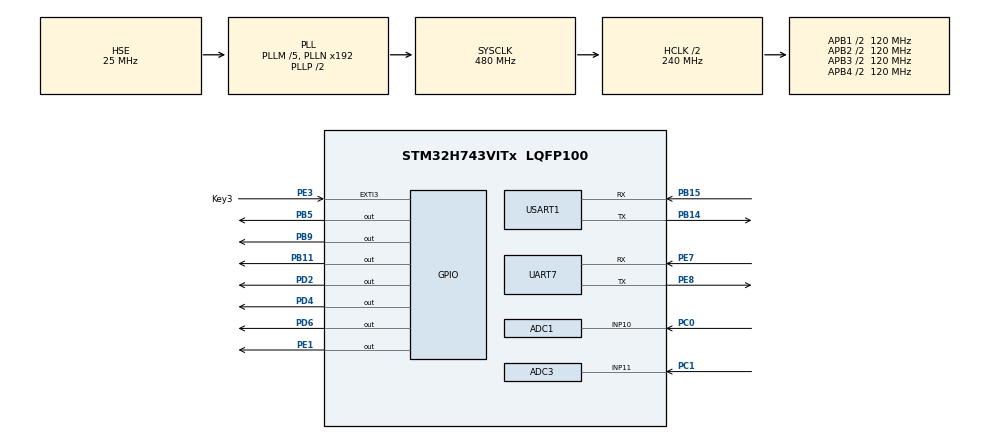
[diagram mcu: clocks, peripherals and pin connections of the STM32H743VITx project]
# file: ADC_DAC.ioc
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ADC1.Channel-1\#ChannelRegularConversion=ADC_CHANNEL_10
ADC1.ClockPrescaler=ADC_CLOCK_ASYNC_DIV1
ADC1.ConversionDataManagement=ADC_CONVERSIONDATA_DMA_CIRCULAR
ADC1.ExternalTrigConv=ADC_EXTERNALTRIG_T15_TRGO
ADC1.NbrOfConversion=1
ADC1.NbrOfConversionFlag=1
ADC1.OffsetNumber-1\#ChannelRegularConversion=ADC_OFFSET_NONE
ADC1.OffsetSignedSaturation-1\#ChannelRegularConversion=DISABLE
ADC1.Rank-1\#ChannelRegularConversion=1
ADC1.SamplingTime-1\#ChannelRegularConversion=ADC_SAMPLETIME_1CYCLE_5
ADC1.master=1
ADC3.Channel-0\#ChannelRegularConversion=ADC_CHANNEL_11
ADC3.ConversionDataManagement=ADC_CONVERSIONDATA_DMA_CIRCULAR
ADC3.ExternalTrigConv=ADC_EXTERNALTRIG_T1_TRGO
ADC3.NbrOfConversionFlag=1
ADC3.OffsetNumber-0\#ChannelRegularConversion=ADC_OFFSET_NONE
ADC3.OffsetSignedSaturation-0\#ChannelRegularConversion=DISABLE
ADC3.Rank-0\#ChannelRegularConversion=1
ADC3.SamplingTime-0\#ChannelRegularConversion=ADC_SAMPLETIME_1CYCLE_5
CORTEX_M7.AccessPermission-Cortex_Memory_Protection_Unit_Region0_Settings=MPU_REGION_FULL_ACCESS
CORTEX_M7.AccessPermission-Cortex_Memory_Protection_Unit_Region1_Settings=MPU_REGION_FULL_ACCESS
CORTEX_M7.AccessPermission-Cortex_Memory_Protection_Unit_Region2_Settings=MPU_REGION_FULL_ACCESS
CORTEX_M7.AccessPermission-Cortex_Memory_Protection_Unit_Region3_Settings=MPU_REGION_FULL_ACCESS
CORTEX_M7.AccessPermission-Cortex_Memory_Protection_Unit_Region4_Settings=MPU_REGION_FULL_ACCESS
CORTEX_M7.AccessPermission_S-Cortex_Memory_Protection_Unit_Region1_Settings_S=MPU_REGION_FULL_ACCESS
CORTEX_M7.AccessPermission_S-Cortex_Memory_Protection_Unit_Region2_Settings_S=MPU_REGION_FULL_ACCESS
CORTEX_M7.AccessPermission_Spec=MPU_REGION_FULL_ACCESS
CORTEX_M7.BaseAddress-Cortex_Memory_Protection_Unit_Region0_Settings=0x24000000
CORTEX_M7.BaseAddress-Cortex_Memory_Protection_Unit_Region1_Settings=0x30000000
CORTEX_M7.BaseAddress-Cortex_Memory_Protection_Unit_Region2_Settings=0x30020000
CORTEX_M7.BaseAddress-Cortex_Memory_Protection_Unit_Region3_Settings=0x30040000
CORTEX_M7.BaseAddress-Cortex_Memory_Protection_Unit_Region4_Settings=0x38000000
CORTEX_M7.BaseAddress_S-Cortex_Memory_Protection_Unit_Region1_Settings_S=0x30000000
CORTEX_M7.BaseAddress_S-Cortex_Memory_Protection_Unit_Region2_Settings_S=0x30020000
CORTEX_M7.BaseAddress_Spec=0x24000000
CORTEX_M7.CPU_DCache=Enabled
CORTEX_M7.CPU_ICache=Enabled
CORTEX_M7.DisableExec_S-Cortex_Memory_Protection_Unit_Region1_Settings_S=MPU_INSTRUCTION_ACCESS_ENABLE
CORTEX_M7.DisableExec_S-Cortex_Memory_Protection_Unit_Region2_Settings_S=MPU_INSTRUCTION_ACCESS_ENABLE
CORTEX_M7.DisableExec_Spec=MPU_INSTRUCTION_ACCESS_ENABLE
CORTEX_M7.Enable-Cortex_Memory_Protection_Unit_Region0_Settings=MPU_REGION_ENABLE
CORTEX_M7.Enable-Cortex_Memory_Protection_Unit_Region1_Settings=MPU_REGION_ENABLE
CORTEX_M7.Enable-Cortex_Memory_Protection_Unit_Region2_Settings=MPU_REGION_ENABLE
CORTEX_M7.Enable-Cortex_Memory_Protection_Unit_Region3_Settings=MPU_REGION_ENABLE
CORTEX_M7.Enable-Cortex_Memory_Protection_Unit_Region4_Settings=MPU_REGION_ENABLE
CORTEX_M7.Enable_S-Cortex_Memory_Protection_Unit_Region1_Settings_S=MPU_REGION_ENABLE
CORTEX_M7.Enable_S-Cortex_Memory_Protection_Unit_Region2_Settings_S=MPU_REGION_ENABLE
CORTEX_M7.IsBufferable-Cortex_Memory_Protection_Unit_Region0_Settings=MPU_ACCESS_NOT_BUFFERABLE
CORTEX_M7.IsBufferable_S-Cortex_Memory_Protection_Unit_Region1_Settings_S=MPU_ACCESS_NOT_BUFFERABLE
CORTEX_M7.IsBufferable_Spec=MPU_ACCESS_BUFFERABLE
CORTEX_M7.IsCacheable-Cortex_Memory_Protection_Unit_Region0_Settings=MPU_ACCESS_NOT_CACHEABLE
CORTEX_M7.IsCacheable_S-Cortex_Memory_Protection_Unit_Region1_Settings_S=MPU_ACCESS_NOT_CACHEABLE
CORTEX_M7.IsCacheable_Spec=MPU_ACCESS_CACHEABLE
CORTEX_M7.IsShareable_Spec=MPU_ACCESS_NOT_SHAREABLE
CORTEX_M7.MPU_Control=MPU_PRIVILEGED_DEFAULT
CORTEX_M7.Size-Cortex_Memory_Protection_Unit_Region0_Settings=MPU_REGION_SIZE_512KB
CORTEX_M7.Size-Cortex_Memory_Protection_Unit_Region1_Settings=MPU_REGION_SIZE_128KB
CORTEX_M7.Size-Cortex_Memory_Protection_Unit_Region2_Settings=MPU_REGION_SIZE_128KB
CORTEX_M7.Size-Cortex_Memory_Protection_Unit_Region3_Settings=MPU_REGION_SIZE_32KB
CORTEX_M7.Size-Cortex_Memory_Protection_Unit_Region4_Settings=MPU_REGION_SIZE_64KB
CORTEX_M7.Size_S-Cortex_Memory_Protection_Unit_Region1_Settings_S=MPU_REGION_SIZE_128KB
CORTEX_M7.Size_S-Cortex_Memory_Protection_Unit_Region2_Settings_S=MPU_REGION_SIZE_128KB
CORTEX_M7.Size_Spec=MPU_REGION_SIZE_512KB
CORTEX_M7.SubRegionDisable_Spec=0x0
CORTEX_M7.TypeExtField-Cortex_Memory_Protection_Unit_Region0_Settings=MPU_TEX_LEVEL1
CORTEX_M7.TypeExtField-Cortex_Memory_Protection_Unit_Region1_Settings=MPU_TEX_LEVEL1
CORTEX_M7.TypeExtField-Cortex_Memory_Protection_Unit_Region2_Settings=MPU_TEX_LEVEL1
CORTEX_M7.TypeExtField-Cortex_Memory_Protection_Unit_Region3_Settings=MPU_TEX_LEVEL1
CORTEX_M7.TypeExtField-Cortex_Memory_Protection_Unit_Region4_Settings=MPU_TEX_LEVEL1
CORTEX_M7.TypeExtField_S-Cortex_Memory_Protection_Unit_Region1_Settings_S=MPU_TEX_LEVEL1
CORTEX_M7.TypeExtField_S-Cortex_Memory_Protection_Unit_Region2_Settings_S=MPU_TEX_LEVEL1
CORTEX_M7.TypeExtField_Spec=MPU_TEX_LEVEL1
Dma.ADC1.0.Direction=DMA_PERIPH_TO_MEMORY
Dma.ADC1.0.EventEnable=DISABLE
Dma.ADC1.0.FIFOMode=DMA_FIFOMODE_DISABLE
Dma.ADC1.0.Instance=DMA1_Stream1
Dma.ADC1.0.MemDataAlignment=DMA_MDATAALIGN_HALFWORD
Dma.ADC1.0.MemInc=DMA_MINC_ENABLE
Dma.ADC1.0.Mode=DMA_NORMAL
Dma.ADC1.0.PeriphDataAlignment=DMA_PDATAALIGN_HALFWORD
Dma.ADC1.0.PeriphInc=DMA_PINC_DISABLE
Dma.ADC1.0.Polarity=HAL_DMAMUX_REQ_GEN_RISING
Dma.ADC1.0.Priority=DMA_PRIORITY_HIGH
Dma.ADC1.0.RequestNumber=1
Dma.ADC1.0.SignalID=NONE
Dma.ADC1.0.SyncEnable=DISABLE
Dma.ADC1.0.SyncPolarity=HAL_DMAMUX_SYNC_NO_EVENT
Dma.ADC1.0.SyncRequestNumber=1
Dma.ADC1.0.SyncSignalID=NONE
Dma.ADC3.1.Direction=DMA_PERIPH_TO_MEMORY
Dma.ADC3.1.EventEnable=DISABLE
Dma.ADC3.1.FIFOMode=DMA_FIFOMODE_DISABLE
Dma.ADC3.1.Instance=DMA2_Stream1
Dma.ADC3.1.MemDataAlignment=DMA_MDATAALIGN_HALFWORD
Dma.ADC3.1.MemInc=DMA_MINC_ENABLE
Dma.ADC3.1.Mode=DMA_NORMAL
Dma.ADC3.1.PeriphDataAlignment=DMA_PDATAALIGN_HALFWORD
Dma.ADC3.1.PeriphInc=DMA_PINC_DISABLE
Dma.ADC3.1.Polarity=HAL_DMAMUX_REQ_GEN_RISING
Dma.ADC3.1.Priority=DMA_PRIORITY_HIGH
Dma.ADC3.1.RequestNumber=1
Dma.ADC3.1.SignalID=NONE
Dma.ADC3.1.SyncEnable=DISABLE
Dma.ADC3.1.SyncPolarity=HAL_DMAMUX_SYNC_NO_EVENT
Dma.ADC3.1.SyncRequestNumber=1
Dma.ADC3.1.SyncSignalID=NONE
Dma.Request0=ADC1
Dma.Request1=ADC3
Mcu.Family=STM32H7
Mcu.Name=STM32H743VITx
Mcu.Package=LQFP100
NVIC.DMA1_Stream1_IRQn=true\:0\:0\:false\:false\:true\:false\:true\:true
NVIC.DMA2_Stream1_IRQn=true\:0\:0\:false\:false\:true\:false\:true\:true
NVIC.EXTI3_IRQn=true\:0\:0\:false\:false\:true\:true\:true\:true
NVIC.PriorityGroup=NVIC_PRIORITYGROUP_4
NVIC.TIM3_IRQn=true\:0\:0\:false\:false\:true\:true\:true\:true
NVIC.TIM4_IRQn=true\:0\:0\:false\:false\:true\:true\:true\:true
NVIC.UART7_IRQn=true\:0\:0\:false\:false\:true\:true\:true\:true
PA13\ (JTMS/SWDIO).Mode=Serial_Wire
PA13\ (JTMS/SWDIO).Signal=DEBUG_JTMS-SWDIO
PA14\ (JTCK/SWCLK).Mode=Serial_Wire
PA14\ (JTCK/SWCLK).Signal=DEBUG_JTCK-SWCLK
PB11.GPIO_ModeDefaultOutputPP=GPIO_MODE_OUTPUT_PP
PB11.GPIO_PuPd=GPIO_PULLUP
PB11.GPIO_Speed=GPIO_SPEED_FREQ_VERY_HIGH
PB11.PinState=GPIO_PIN_SET
PB11.Signal=GPIO_Output
PB14.Mode=Asynchronous
PB14.Signal=USART1_TX
PB15.Mode=Asynchronous
PB15.Signal=USART1_RX
PB5.GPIO_ModeDefaultOutputPP=GPIO_MODE_OUTPUT_PP
PB5.GPIO_PuPd=GPIO_PULLUP
PB5.GPIO_Speed=GPIO_SPEED_FREQ_VERY_HIGH
PB5.PinState=GPIO_PIN_SET
PB5.Signal=GPIO_Output
PB9.GPIO_PuPd=GPIO_PULLUP
PB9.GPIO_Speed=GPIO_SPEED_FREQ_VERY_HIGH
PB9.PinState=GPIO_PIN_SET
PB9.Signal=GPIO_Output
PC0.Signal=ADCx_INP10
PC1.Signal=ADCx_INP11
PD2.GPIO_Speed=GPIO_SPEED_FREQ_VERY_HIGH
PD2.PinState=GPIO_PIN_SET
PD2.Signal=GPIO_Output
PD4.GPIO_PuPd=GPIO_PULLUP
PD4.GPIO_Speed=GPIO_SPEED_FREQ_VERY_HIGH
PD4.PinState=GPIO_PIN_SET
PD4.Signal=GPIO_Output
PD6.GPIO_PuPd=GPIO_PULLUP
PD6.GPIO_Speed=GPIO_SPEED_FREQ_VERY_HIGH
PD6.PinState=GPIO_PIN_SET
PD6.Signal=GPIO_Output
PE1.GPIO_PuPd=GPIO_PULLUP
PE1.GPIO_Speed=GPIO_SPEED_FREQ_VERY_HIGH
PE1.PinState=GPIO_PIN_SET
PE1.Signal=GPIO_Output
PE3.GPIO_Label=Key3
PE3.GPIO_ModeDefaultEXTI=GPIO_MODE_IT_FALLING
PE3.GPIO_PuPd=GPIO_PULLUP
PE3.Signal=GPXTI3
PE7.Mode=Asynchronous
PE7.Signal=UART7_RX
PE8.Mode=Asynchronous
PE8.Signal=UART7_TX
PH0-OSC_IN\ (PH0).Mode=HSE-External-Oscillator
PH0-OSC_IN\ (PH0).Signal=RCC_OSC_IN
PH1-OSC_OUT\ (PH1).Mode=HSE-External-Oscillator
PH1-OSC_OUT\ (PH1).Signal=RCC_OSC_OUT
ProjectManager.HeapSize=0x200
ProjectManager.StackSize=0x400
ProjectManager.TargetToolchain=MDK-ARM V5.32
RCC.ADCFreq_Value=72000000
RCC.APB1Freq_Value=120000000
RCC.APB2Freq_Value=120000000
RCC.APB3Freq_Value=120000000
RCC.APB4Freq_Value=120000000
RCC.CortexFreq_Value=480000000
RCC.D1PPRE=RCC_APB3_DIV2
RCC.D2PPRE1=RCC_APB1_DIV2
RCC.D2PPRE2=RCC_APB2_DIV2
RCC.D3PPRE=RCC_APB4_DIV2
RCC.DIVM1=5
RCC.DIVM2=25
RCC.DIVN1=192
RCC.DIVN2=360
RCC.DIVP2=5
RCC.HCLKFreq_Value=240000000
RCC.HPRE=RCC_HCLK_DIV2
RCC.HSE_Timout=5000
RCC.PLLSourceVirtual=RCC_PLLSOURCE_HSE
RCC.ProductRev=revV
RCC.SYSCLKFreq_VALUE=480000000
RCC.SYSCLKSource=RCC_SYSCLKSOURCE_PLLCLK
RCC.USBFreq_Value=480000000
SH.ADCx_INP10.0=ADC2_INP10
SH.ADCx_INP10.1=ADC1_INP10,IN10-Single-Ended
SH.ADCx_INP11.0=ADC3_INP11,IN11-Single-Ended
TIM1.AutoReloadPreload=TIM_AUTORELOAD_PRELOAD_ENABLE
TIM1.Period=5-1
TIM1.Prescaler=240-1
TIM1.TIM_MasterOutputTrigger=TIM_TRGO_UPDATE
TIM15.AutoReloadPreload=TIM_AUTORELOAD_PRELOAD_ENABLE
TIM15.Period=4-1
TIM15.Prescaler=60-1
TIM15.TIM_MasterOutputTrigger=TIM_TRGO_UPDATE
TIM2.AutoReloadPreload=TIM_AUTORELOAD_PRELOAD_ENABLE
TIM2.Period=20-1
TIM2.Prescaler=240-1
TIM3.AutoReloadPreload=TIM_AUTORELOAD_PRELOAD_ENABLE
TIM3.Period=100-1
TIM3.Prescaler=240-1
TIM4.AutoReloadPreload=TIM_AUTORELOAD_PRELOAD_ENABLE
TIM4.Period=50-1
TIM4.Prescaler=240-1
TIM6.AutoReloadPreload=TIM_AUTORELOAD_PRELOAD_ENABLE
TIM6.Period=200-1
TIM6.Prescaler=12-1
TIM6.TIM_MasterOutputTrigger=TIM_TRGO_UPDATE
TIM7.Prescaler=239
UART7.RXFIFOThreshold=RXFIFO_THRESHOLD_1EIGHTHFULL
UART7.TXFIFOThreshold=TXFIFO_THRESHOLD_1EIGHTHFULL
USART1.VirtualMode-Asynchronous=VM_ASYNC
VP_TIM15_VS_ClockSourceINT.Mode=Internal
VP_TIM1_VS_ClockSourceINT.Mode=Internal
VP_TIM2_VS_ClockSourceINT.Mode=Internal
VP_TIM3_VS_ClockSourceINT.Mode=Internal
VP_TIM4_VS_ClockSourceINT.Mode=Internal
VP_TIM6_VS_ClockSourceINT.Mode=Enable_Timer
VP_TIM7_VS_ClockSourceINT.Mode=Enable_Timer
board=custom

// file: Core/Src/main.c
/* USER CODE BEGIN Header */
/**
  ******************************************************************************
  * @file           : main.c
  * @brief          : Main program body
  ******************************************************************************
  * @attention
  *
  * Copyright (c) 2022 STMicroelectronics.
  * All rights reserved.
  *
  * This software is licensed under terms that can be found in the LICENSE file
  * in the root directory of this software component.
  * If no LICENSE file comes with this software, it is provided AS-IS.
  *
  ******************************************************************************
  */
/* USER CODE END Header */
#include "main.h"
#include "adc.h"
#include "dma.h"
#include "tim.h"
#include "usart.h"
#include "gpio.h"

/* USER CODE BEGIN Includes */
int Chande_flag = 0;
char screen_message[30] = {0};
uint32_t frequency = 1000;
/* USER CODE END Includes */

/* USER CODE BEGIN PTD */
ALIGN_32BYTES (uint16_t adc1_data[10000])  __attribute__((section(".ARM.__at_0x30020000")));
ALIGN_32BYTES (uint16_t adc3_data[2000]) 	__attribute__((section(".ARM.__at_0x30000000")));

//ALIGN_32BYTES (uint16_t comp[1000]) 	__attribute__((section(".ARM.__at_0x300200000")));
uint16_t comp[2000] = {0};
__IO uint8_t AdcConvEnd = 0;//表示adc采集完成__at_0x24000000
float scan_data[480] = {0};
float Upper_K = 0;
float InputRes = 0;

float InputAC = 0;

float InputAC_kailu = 0;

float OutputAC = 0;

float OutputResAC = 0;

float OutputRes = 0;

float Gain = 0;

uint16_t Error_flag = 0;

float Check_OutputRes = 0;

float Check_InputRes = 0;

float Check_Gain = 0;

float Check_DC = 0;

float OutputDC = 0;

uint16_t Check_flag = 0;

void adc_saopin(void)
{
//	HAL_ADC_DeInit(&hadc1);
	MX_ADC1_Init();	//初始化调用放这里, 确保在MX_DMA_Init()初始化后面
	HAL_Delay(100);	//有地方说这里可以等等电压稳定后再校准

	if (HAL_ADCEx_Calibration_Start(&hadc1, ADC_CALIB_OFFSET, ADC_SINGLE_ENDED) != HAL_OK)
	{
			printf("hadc1 error with HAL_ADCEx_Calibration_Start\r\n");
			Error_Handler();
	}

	if (HAL_ADC_Start_DMA(&hadc1, (uint32_t *)adc1_data, 1000) != HAL_OK)
	{
			printf("hadc1 error with HAL_ADC_Start_DMA\r\n");
			Error_Handler();
	}

	HAL_TIM_Base_Start(&htim15);
	while (!AdcConvEnd);
	AdcConvEnd = 0;
	HAL_ADC_DeInit(&hadc1);
}

void adc_init(void)
{
//	HAL_ADC_DeInit(&hadc1);
	MX_ADC1_Init();	//初始化调用放这里, 确保在MX_DMA_Init()初始化后面
	HAL_Delay(100);	//有地方说这里可以等等电压稳定后再校准

	if (HAL_ADCEx_Calibration_Start(&hadc1, ADC_CALIB_OFFSET, ADC_SINGLE_ENDED) != HAL_OK)
	{
			printf("hadc1 error with HAL_ADCEx_Calibration_Start\r\n");
			Error_Handler();
	}

	if (HAL_ADC_Start_DMA(&hadc1, (uint32_t *)adc1_data, 10000) != HAL_OK)
	{
			printf("hadc1 error with HAL_ADC_Start_DMA\r\n");
			Error_Handler();
	}

	HAL_TIM_Base_Start(&htim15);
	while (!AdcConvEnd);
	AdcConvEnd = 0;
	HAL_ADC_DeInit(&hadc1);
}

void adc3_init(void)
{
//	HAL_ADC_DeInit(&hadc3);
	MX_ADC3_Init();	//初始化调用放这里, 确保在MX_DMA_Init()初始化后面
	HAL_Delay(100);	//有地方说这里可以等等电压稳定后再校准

	if (HAL_ADCEx_Calibration_Start(&hadc3, ADC_CALIB_OFFSET, ADC_SINGLE_ENDED) != HAL_OK)
	{
			printf("hadc1 error with HAL_ADCEx_Calibration_Start\r\n");
			Error_Handler();
	}

	if (HAL_ADC_Start_DMA(&hadc3, (uint32_t *)adc3_data, 2000) != HAL_OK)
	{
			printf("hadc3 error with HAL_ADC_Start_DMA\r\n");
			Error_Handler();
	}

	HAL_TIM_Base_Start(&htim1);
	while (!AdcConvEnd);
	AdcConvEnd = 0;
		HAL_ADC_DeInit(&hadc3);

}
/* USER CODE END PTD */

void SystemClock_Config(void);
void PeriphCommonClock_Config(void);
static void MPU_Config(void);

int main(void)
{
  /* USER CODE BEGIN 1 */
	//系统初始化代码
//	{
  /* USER CODE END 1 */

  /* MPU Configuration--------------------------------------------------------*/
  MPU_Config();

  /* Enable I-Cache---------------------------------------------------------*/
  SCB_EnableICache();

  /* Enable D-Cache---------------------------------------------------------*/
  SCB_EnableDCache();

  /* MCU Configuration--------------------------------------------------------*/

  /* Reset of all peripherals, Initializes the Flash interface and the Systick. */
  HAL_Init();

  /* USER CODE BEGIN Init */
	uint32_t saopin = 0;
  /* USER CODE END Init */

  /* Configure the system clock */
  SystemClock_Config();

/* Configure the peripherals common clocks */
  PeriphCommonClock_Config();

  /* Initialize all configured peripherals */
  MX_GPIO_Init();
  MX_DMA_Init();
  MX_TIM7_Init();
  MX_TIM6_Init();
  MX_ADC1_Init();
  MX_USART1_UART_Init();
  MX_ADC3_Init();
  MX_TIM15_Init();
  MX_TIM1_Init();
  MX_UART7_Init();
  MX_TIM2_Init();
  MX_TIM3_Init();
  MX_TIM4_Init();
  /* USER CODE BEGIN 2 */
//	}
	Init_ad9910();
	Write_Amplitude(100);
	Freq_convert(frequency);
	Close_All();
	show_x_ray();
	for(int i = 0; i < 480; i++)
	{
		sprintf(screen_message,"add 10,0,%d\xff\xff\xff",(int)(0));
		USART7PutString(screen_message);
	}
	//开始测量输入电阻
//	{
	//继电器打开输入电阻测量电路，进入开路串联电阻状态
	Start_Input_Resistor_Measure();
	Delay_Ms(200);
  //测量输入部分开路电压
	adc3_init();
	Mea_Input(1);
	//继电器关闭输入电阻测量电路，短路串联电阻
	Stop_Input_Resistor_Measure();
	Delay_Ms(200);

	//测量短路输入电压
	adc3_init();
	Mea_Input(2);
	//显示输入电阻阻值
	show_Input_res(InputRes);

//	sprintf(screen_message,"x0.val=%d\xff\xff\xff",(uint16_t)(InputAC_kailu*100));
//	USART7PutString(screen_message);
//
//	sprintf(screen_message,"x3.val=%d\xff\xff\xff",(uint16_t)(InputAC*100));
//	USART7PutString(screen_message);

	Start_Input_Resistor_Measure();
	Stop_Input_Resistor_Measure();
	Delay_Ms(200);
//	}

	//开始测量输出电阻
//	{
	//输出交流信号进行采样，并联电阻
	Start_Output_Resistor_Measure();
	//改变输出通道adc采样频率到100KHz
	TIM15->PSC = 150-1;
	//测量输出电压
	adc_init();
	Mea_Output(1);

	//输出交流信号进行采样，不并联电阻
	Open_DC();
	//测量输出电压
	adc_init();
	Mea_Output(2);
	show_Output_res(OutputRes);
	Init_ad9910();
	Write_Amplitude(100);
	Freq_convert(frequency);
	Open_DC();

	Gain = OutputAC/InputAC*80.819;
	show_Gain(Gain);
	Mea_Scan();
	Upper_K_Find();

	frequency = 1000;
	Freq_convert(frequency);
	TIM15->PSC = 150-1;

//Start_Input_Resistor_Measure();
	HAL_TIM_Base_Start_IT(&htim3);

  /* USER CODE END 2 */

  /* Infinite loop */
  /* USER CODE BEGIN WHILE */

  while (1)
  {
		if(Check_flag == 1)
		{
			adc_saopin();
			Check_DC = Mea_Scan_DC();

			if( Check_DC > 2600)
			{
				Check_flag = 0;
				if(Check_DC < 2850)
				{
					Error_flag = 5;

					Check_flag = 0;
					Delay_Ms(3000);
				}
				else
				{
					//继电器打开输入电阻测量电路，进入开路串联电阻状态
					Start_Input_Resistor_Measure();
					Delay_Ms(10);
					//测量输入部分开路电压
					adc3_init();
					Mea_Input(1);
					//继电器关闭输入电阻测量电路，短路串联电阻
					Stop_Input_Resistor_Measure();
					Delay_Ms(10);

					//测量短路输入电压
					adc3_init();
					Mea_Input(2);
					//显示输入电阻阻值
					show_Input_res(InputRes);
					if(InputRes < 5)
					{
//							printf("%f\r\n", InputRes);
							if(InputRes < 1.5)
							{
								Error_flag = 6;
							}
							else
							{
								Error_flag = 7;
							}
					}
					else
					{
						if(InputRes > 14)
						{
							Error_flag = 1;
						}
						else{Error_flag = 4;}
					}
				}
			}

			else if( Check_DC > 1500)
			{

				//继电器打开输入电阻测量电路，进入开路串联电阻状态
				Start_Input_Resistor_Measure();
				Delay_Ms(10);
				//测量输入部分开路电压
				adc3_init();
				Mea_Input(1);
				//继电器关闭输入电阻测量电路，短路串联电阻
				Stop_Input_Resistor_Measure();
				Delay_Ms(10);

				//测量短路输入电压
				adc3_init();
				Mea_Input(2);
				InputRes = fabs(InputRes);
				printf("%f\r\n", InputRes);
				if((InputRes > 300) ||  (InputRes < 1))
				{
					Error_flag = 9;
				}
				else if(InputRes > 10)
				{
					Error_flag = 10;
				}
				else
				{
					frequency = 200000;
					Freq_convert(frequency);
					TIM15->PSC = 5-1;
					adc_saopin();
					Check_Gain = Mea_Scan_Output();

					if(Check_Gain >350)
					{
						Error_flag = 11;
					}
					else
					{
						Error_flag = 0;
					}
				}
			}

			else if( Check_DC < 1500)
			{
//				printf("%f\r\n", Check_DC);
				if(Check_DC>800)
				{
					Error_flag  =2;
				}
				else if(Check_DC>30)
				{
					Error_flag = 3;
				}
				else
				{
					Error_flag = 8;
				}
				Check_flag = 0;
			}
			else
			{
				Error_flag = 0;
			}
			display_Error();
			frequency = 1000;
			Freq_convert(frequency);
//			display_Error();
			Check_flag = 0;
			Delay_Ms(300);
		}

//
//
//
//
    /* USER CODE END WHILE */

  }
}

void SystemClock_Config(void)
{
  RCC_OscInitTypeDef RCC_OscInitStruct = {0};
  RCC_ClkInitTypeDef RCC_ClkInitStruct = {0};

  /** Supply configuration update enable
  */
  HAL_PWREx_ConfigSupply(PWR_LDO_SUPPLY);

  /** Configure the main internal regulator output voltage
  */
  __HAL_PWR_VOLTAGESCALING_CONFIG(PWR_REGULATOR_VOLTAGE_SCALE1);

  while(!__HAL_PWR_GET_FLAG(PWR_FLAG_VOSRDY)) {}

  __HAL_RCC_SYSCFG_CLK_ENABLE();
  __HAL_PWR_VOLTAGESCALING_CONFIG(PWR_REGULATOR_VOLTAGE_SCALE0);

  while(!__HAL_PWR_GET_FLAG(PWR_FLAG_VOSRDY)) {}

  /** Initializes the RCC Oscillators according to the specified parameters
  * in the RCC_OscInitTypeDef structure.
  */
  RCC_OscInitStruct.OscillatorType = RCC_OSCILLATORTYPE_HSE;
  RCC_OscInitStruct.HSEState = RCC_HSE_ON;
  RCC_OscInitStruct.PLL.PLLState = RCC_PLL_ON;
  RCC_OscInitStruct.PLL.PLLSource = RCC_PLLSOURCE_HSE;
  RCC_OscInitStruct.PLL.PLLM = 5;
  RCC_OscInitStruct.PLL.PLLN = 192;
  RCC_OscInitStruct.PLL.PLLP = 2;
  RCC_OscInitStruct.PLL.PLLQ = 2;
  RCC_OscInitStruct.PLL.PLLR = 2;
  RCC_OscInitStruct.PLL.PLLRGE = RCC_PLL1VCIRANGE_2;
  RCC_OscInitStruct.PLL.PLLVCOSEL = RCC_PLL1VCOWIDE;
  RCC_OscInitStruct.PLL.PLLFRACN = 0;
  if (HAL_RCC_OscConfig(&RCC_OscInitStruct) != HAL_OK)
  {
    Error_Handler();
  }

  /** Initializes the CPU, AHB and APB buses clocks
  */
  RCC_ClkInitStruct.ClockType = RCC_CLOCKTYPE_HCLK|RCC_CLOCKTYPE_SYSCLK
                              |RCC_CLOCKTYPE_PCLK1|RCC_CLOCKTYPE_PCLK2
                              |RCC_CLOCKTYPE_D3PCLK1|RCC_CLOCKTYPE_D1PCLK1;
  RCC_ClkInitStruct.SYSCLKSource = RCC_SYSCLKSOURCE_PLLCLK;
  RCC_ClkInitStruct.SYSCLKDivider = RCC_SYSCLK_DIV1;
  RCC_ClkInitStruct.AHBCLKDivider = RCC_HCLK_DIV2;
  RCC_ClkInitStruct.APB3CLKDivider = RCC_APB3_DIV2;
  RCC_ClkInitStruct.APB1CLKDivider = RCC_APB1_DIV2;
  RCC_ClkInitStruct.APB2CLKDivider = RCC_APB2_DIV2;
  RCC_ClkInitStruct.APB4CLKDivider = RCC_APB4_DIV2;

  if (HAL_RCC_ClockConfig(&RCC_ClkInitStruct, FLASH_LATENCY_4) != HAL_OK)
  {
    Error_Handler();
  }
}

void PeriphCommonClock_Config(void)
{
  RCC_PeriphCLKInitTypeDef PeriphClkInitStruct = {0};

  /** Initializes the peripherals clock
  */
  PeriphClkInitStruct.PeriphClockSelection = RCC_PERIPHCLK_ADC;
  PeriphClkInitStruct.PLL2.PLL2M = 25;
  PeriphClkInitStruct.PLL2.PLL2N = 360;
  PeriphClkInitStruct.PLL2.PLL2P = 5;
  PeriphClkInitStruct.PLL2.PLL2Q = 2;
  PeriphClkInitStruct.PLL2.PLL2R = 2;
  PeriphClkInitStruct.PLL2.PLL2RGE = RCC_PLL2VCIRANGE_0;
  PeriphClkInitStruct.PLL2.PLL2VCOSEL = RCC_PLL2VCOWIDE;
  PeriphClkInitStruct.PLL2.PLL2FRACN = 0;
  PeriphClkInitStruct.AdcClockSelection = RCC_ADCCLKSOURCE_PLL2;
  if (HAL_RCCEx_PeriphCLKConfig(&PeriphClkInitStruct) != HAL_OK)
  {
    Error_Handler();
  }
}

/* USER CODE BEGIN 4 */
void HAL_ADC_ConvCpltCallback(ADC_HandleTypeDef* hadc)
{
   if(hadc->Instance == ADC1)
	{
      //SCB_InvalidateDCache_by_Addr((uint32_t *) &adc1_data[0], ADC1_BUFFER_SIZE);
   }
	 AdcConvEnd = 1;
}

/* USER CODE END 4 */

/* MPU Configuration */

void MPU_Config(void)
{
  MPU_Region_InitTypeDef MPU_InitStruct = {0};

  /* Disables the MPU */
  HAL_MPU_Disable();

  /** Initializes and configures the Region and the memory to be protected
  */
  MPU_InitStruct.Enable = MPU_REGION_ENABLE;
  MPU_InitStruct.Number = MPU_REGION_NUMBER0;
  MPU_InitStruct.BaseAddress = 0x24000000;
  MPU_InitStruct.Size = MPU_REGION_SIZE_512KB;
  MPU_InitStruct.SubRegionDisable = 0x0;
  MPU_InitStruct.TypeExtField = MPU_TEX_LEVEL1;
  MPU_InitStruct.AccessPermission = MPU_REGION_FULL_ACCESS;
  MPU_InitStruct.DisableExec = MPU_INSTRUCTION_ACCESS_ENABLE;
  MPU_InitStruct.IsShareable = MPU_ACCESS_NOT_SHAREABLE;
  MPU_InitStruct.IsCacheable = MPU_ACCESS_NOT_CACHEABLE;
  MPU_InitStruct.IsBufferable = MPU_ACCESS_NOT_BUFFERABLE;

  HAL_MPU_ConfigRegion(&MPU_InitStruct);

  /** Initializes and configures the Region and the memory to be protected
  */
  MPU_InitStruct.Number = MPU_REGION_NUMBER1;
  MPU_InitStruct.BaseAddress = 0x30000000;
  MPU_InitStruct.Size = MPU_REGION_SIZE_128KB;

  HAL_MPU_ConfigRegion(&MPU_InitStruct);

  /** Initializes and configures the Region and the memory to be protected
  */
  MPU_InitStruct.Number = MPU_REGION_NUMBER2;
  MPU_InitStruct.BaseAddress = 0x30020000;

  HAL_MPU_ConfigRegion(&MPU_InitStruct);

  /** Initializes and configures the Region and the memory to be protected
  */
  MPU_InitStruct.Number = MPU_REGION_NUMBER3;
  MPU_InitStruct.BaseAddress = 0x30040000;
  MPU_InitStruct.Size = MPU_REGION_SIZE_32KB;

  HAL_MPU_ConfigRegion(&MPU_InitStruct);

  /** Initializes and configures the Region and the memory to be protected
  */
  MPU_InitStruct.Number = MPU_REGION_NUMBER4;
  MPU_InitStruct.BaseAddress = 0x38000000;
  MPU_InitStruct.Size = MPU_REGION_SIZE_64KB;

  HAL_MPU_ConfigRegion(&MPU_InitStruct);
  /* Enables the MPU */
  HAL_MPU_Enable(MPU_PRIVILEGED_DEFAULT);

}

void Error_Handler(void)
{
  __disable_irq();
  while (1)
  {
  }
}
